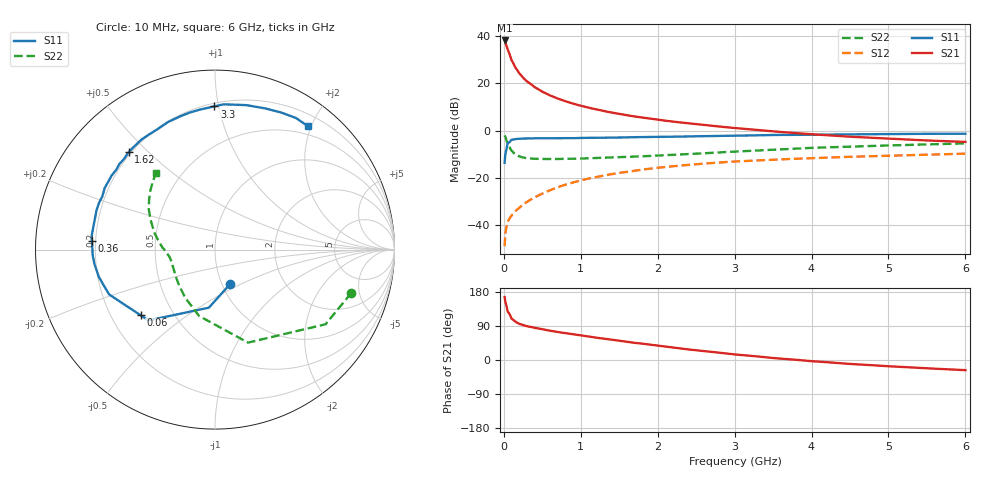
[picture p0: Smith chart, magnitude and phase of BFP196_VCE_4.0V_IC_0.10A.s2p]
! Infineon Technologies  Discrete & RF Semiconductors
! BFP196
! VCE = 4.0 V,  IC = 0.10A
! Common Emitter S-Parameters:  Jan 2016
# GHz  S  MA  R  50
!  f  S11  S21  S12  S22
! GHz  MAG  ANG  MAG  ANG  MAG  ANG  MAG  ANG
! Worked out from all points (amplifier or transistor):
!   210 points, 10 MHz to 6 GHz, reference 50 ohm
!   highest |S21| = 38.2 dB at 10 MHz (marker M1)
!   |S21| within 3 dB of that: start of sweep to 41.38 MHz
!   unconditionally stable (mu >= 1): 347.3 MHz to 4.872 GHz
!   at 185 MHz: K = 0.85, MSG = 29.1 dB, |S12| = -33.1 dB
!   at 1.52 GHz: K = 1.09, MAG = 10.6 dB, |S12| = -17.8 dB
!   at 6 GHz: K = 0.98, MSG = 2.5 dB, |S12| = -9.7 dB
!   S11 on the Smith chart (normalised r, x): 10 MHz: 1.09, -0.44; 60 MHz: 0.33, -0.34; 360 MHz: 0.19, +0.03; 1.62 GHz: 0.19, +0.44; 3.3 GHz: 0.22, +0.97; 6 GHz: 0.37, +1.95
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0.01  0.2094 -66.2  81.15 166.0  0.0036 73.7  0.7966 -17.7
0.02  0.3252 -96.0  74.26 152.7  0.0068 66.0  0.7435 -34.0
0.05  0.5415 -133.2  52.45 127.7  0.0118 53.7  0.55 -70.4
0.06  0.5528 -138.6  47.92 125.3  0.0127 53.5  0.5054 -75.1
0.1  0.6408 -157.1  31.2 109.2  0.0161 53.1  0.3802 -103.5
0.15  0.6654 -166.9  21.63 100.7  0.0198 55.0  0.3152 -121.8
0.2  0.6764 -173.1  16.48 95.5  0.0233 58.2  0.2861 -133.3
0.24  0.681 -176.6  13.84 92.7  0.0263 60.5  0.2734 -139.9
0.3  0.6833 179.1  11.06 89.1  0.0311 62.5  0.2625 -147.0
0.36  0.6876 175.9  9.43 86.9  0.0357 64.1  0.2571 -151.7
0.4  0.6916 173.8  8.354 84.9  0.0387 65.0  0.2545 -154.9
0.5  0.6901 169.8  6.681 81.1  0.0466 66.4  0.252 -159.8
0.6  0.6908 165.1  5.577 77.3  0.055 66.5  0.2513 -163.2
0.8  0.6968 158.1  4.194 70.9  0.0721 64.8  0.2541 -167.9
1.02  0.704 150.1  3.306 64.2  0.0904 63.0  0.2579 -171.4
1.62  0.7247 131.6  2.093 47.6  0.1369 54.8  0.2795 -178.9
2.02  0.7389 120.4  1.689 37.5  0.1654 48.4  0.2987 176.1
3.1  0.7881 94.2  1.102 13.0  0.2267 32.0  0.367 160.6
3.3  0.7978 90.3  1.031 9.4  0.2352 29.1  0.3812 157.7
4.1  0.8248 76.3  0.821 -4.4  0.2658 19.0  0.4383 147.3
5.1  0.8499 63.0  0.668 -17.5  0.2988 7.8  0.492 136.6
6  0.8608 53.0  0.579 -26.8  0.3265 -2.3  0.538 127.6
